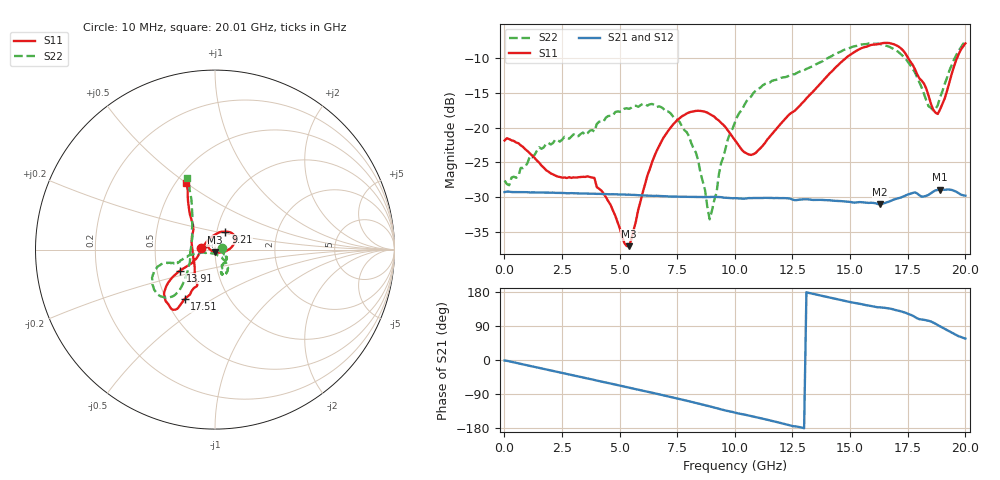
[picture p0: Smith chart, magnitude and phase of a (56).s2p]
! Hittite Microwave Corporation
! 2 Elizabeth Drive
! Chelmsford, MA 01824
! http://www.hittite.com
! Tel: 978-250-3343
! Fax: 978-250-3373
! Device:  HMC424LP3
! Description: 0.5 dB GaAs MMIC 6-Bit Digital Attenuator
! Frequency:  DC -  13.00 GHz
! Package:  LP3  - 3x3 mm Quad Flatpack No-Lead (QFN) Plastic Package: 16 pin
! Ports:  2 RF, 7 DC
!  Pad  1  = Ground
!  Pad  2  = RF IN  =  Port 1
!  Pad  3  = Ground
!  Pad  4  = V6
!  Pad  5  = V5
!  Pad  6  = V4
!  Pad  7  = V3
!  Pad  8  = V2
!  Pad  9  = V1
!  Pad 10  = Ground
!  Pad 11  = RF OUT  = Port 2
!  Pad 12  = Ground
!  Pad 15  = VEE
! Control:  -5 Volt control voltage
! State:  54
! Attenuation:  27.0 dB
! Voltages:  Vdd = -5.00 Volts  Idd =  -2.517 mA
!  V1  = 0.00 Volts  I1  =  29.0 uA
!  V2  = -5.00 Volts  I2  =  -1.0 uA
!  V3  = -5.00 Volts  I3  =  -1.0 uA
!  V4  = 0.00 Volts  I4  =  30.0 uA
!  V5  = -5.00 Volts  I5  =  -1.0 uA
!  V6  = -5.00 Volts  I6  =  -1.0 uA
! Data:  The device was measured on evaluation board 105354-1.
!  Data was collected using a calibrated network analyzer.
!  The evaluation circuit board was modeled and simulated.  This was use
!  to removed the evaluation board circuit from the measured data.
!  The reference plane is the edge of the package pin.
! Misc:  Lot xxxx, Unit 1
!  Application 20120001, Data collected in Application 20090083
! Date Measured:  2009-09-15
! Date:  2012-05-14  MJV
! Note:
!  Hittite supplies this data as a sample of measured data at the package pin
!  for this product.  Your particular data for this product may vary.
!  Data was taken at 25 degrees C.
!  Hittite reserves the right to change this data at anytime.
# GHz S MA R 50
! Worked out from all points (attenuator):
!   201 points, 10 MHz to 20.01 GHz, reference 50 ohm
!   highest |S21| = -28.90 dB at 18.91 GHz (marker M1); lowest = -31.0 dB at 16.31 GHz (marker M2)
!   lowest |S11| = -37.1 dB at 5.41 GHz (marker M3), VSWR 1.03, Z = 49.9 - j1.39 ohm
!   |S11| at or under -10 dB: start of sweep to 14.8 GHz; 17.54 GHz to 19.64 GHz (2.099 GHz wide, 11.3 % of centre)
!   |S22| runs from -33.2 to -7.4 dB; largest |S21 - S12| = 0.0014
!   S11 on the Smith chart (normalised r, x): 10 MHz: 0.85, +0.02; 9.21 GHz: 1.10, +0.22; 13.91 GHz: 0.66, -0.16; 17.51 GHz: 0.62, -0.38; 20.01 GHz: 0.56, +0.50
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0.01  0.081 173.8  0.0344 -1.4  0.03421 0.9  0.04168 10.3
1.51  0.05612 168.7  0.03415 -21.1  0.03412 -21.0  0.0724 -29.6
3.41  0.04431 147.2  0.03362 -46.2  0.03352 -46.3  0.09246 -54.2
3.91  0.04349 155.6  0.03346 -52.9  0.03336 -52.8  0.09404 -66.4
5.41  0.01401 -94.8  0.03297 -73.0  0.03284 -73.0  0.1369 -74.1
6.21  0.0454 -18.2  0.03242 -83.8  0.03239 -83.7  0.1445 -69.4
6.71  0.07347 -1.1  0.03224 -90.5  0.03216 -90.6  0.1428 -63.3
8.01  0.129 29.6  0.03176 -108.8  0.03167 -108.8  0.08717 -48.0
8.41  0.1327 38.6  0.03166 -114.7  0.03165 -114.7  0.05853 -48.1
8.91  0.1257 51.1  0.03169 -122.3  0.03171 -122.4  0.02189 -101.4
9.21  0.1158 59.8  0.03174 -127.1  0.03164 -126.9  0.03411 -149.7
9.41  0.1085 67.1  0.03162 -130.6  0.03164 -130.6  0.05585 -160.0
10.01  0.0813 92.5  0.03111 -138.9  0.03108 -138.8  0.1098 -168.9
10.91  0.06589 158.3  0.03117 -150.8  0.03117 -150.8  0.1857 -164.0
13.41  0.1832 -149.3  0.03018 174.4  0.03012 174.5  0.2783 -164.7
13.91  0.2261 -148.9  0.0301 167.6  0.03011 167.6  0.3112 -164.8
16.31  0.4046 -128.8  0.02815 139.0  0.02807 138.9  0.4016 -140.1
16.71  0.4085 -124.9  0.02942 135.9  0.02932 135.9  0.3839 -135.6
17.51  0.3223 -121.6  0.03303 122.3  0.03296 122.3  0.2996 -131.1
18.41  0.1707 -131.4  0.03285 103.5  0.03284 103.3  0.143 -164.0
18.91  0.1356 164.0  0.03589 88.9  0.03589 88.8  0.1655 141.4
20.01  0.4061 113.8  0.03239 56.5  0.03218 56.8  0.4265 111.5
